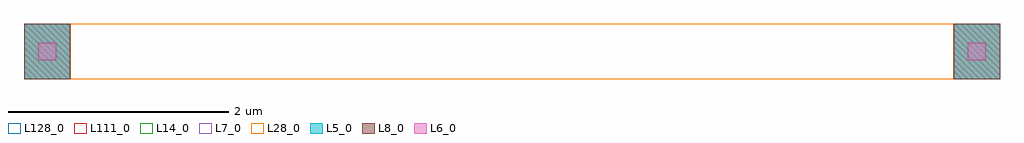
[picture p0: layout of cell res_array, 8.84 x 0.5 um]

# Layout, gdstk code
import gdstk
lib = gdstk.Library(unit=1e-6, precision=1e-09)
def R(c, l, rs):  # rectangles x0, y0, x1, y1
    for r in rs: c.add(gdstk.rectangle(r[:2], r[2:], *l))
L5_0 = (5, 0)
L6_0 = (6, 0)
L7_0 = (7, 0)
L8_0 = (8, 0)
L14_0 = (14, 0)
L28_0 = (28, 0)
L111_0 = (111, 0)
L128_0 = (128, 0)

res_array = lib.new_cell('res_array')
R(res_array, L5_0, [(0,0,0.42,0.5), (8.42,0,8.84,0.5)])
R(res_array, L6_0, [(0.13,0.17,0.29,0.33), (8.55,0.17,8.71,0.33)])
R(res_array, L7_0, [(0.42,0,8.42,0.5)])
R(res_array, L8_0, [(0,0,0.42,0.5), (8.42,0,8.84,0.5)])
R(res_array, L14_0, [(0.42,0,8.42,0.5)])
R(res_array, L28_0, [(0.42,0,8.42,0.5)])
R(res_array, L111_0, [(0.42,0,8.42,0.5)])
R(res_array, L128_0, [(0.42,0,8.42,0.5)])

lib.write_gds('res_array.gds')
